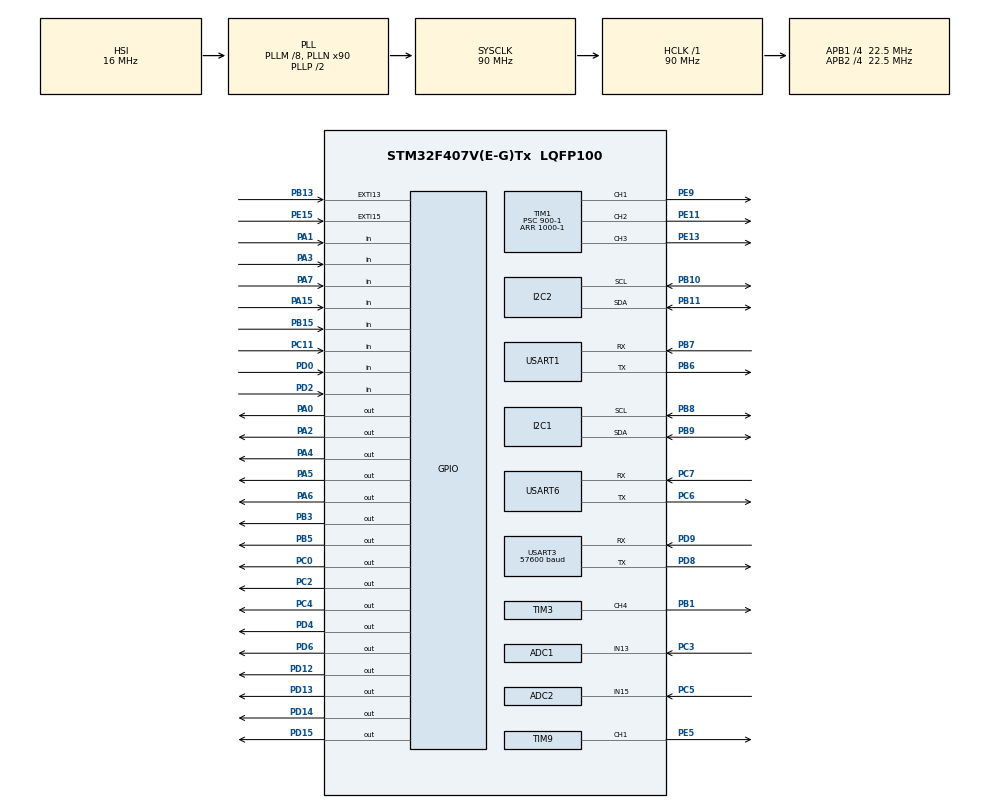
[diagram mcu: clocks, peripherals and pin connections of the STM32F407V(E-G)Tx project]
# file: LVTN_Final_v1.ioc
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ADC1.Channel-0\#ChannelRegularConversion=ADC_CHANNEL_13
ADC1.NbrOfConversionFlag=1
ADC1.Rank-0\#ChannelRegularConversion=1
ADC1.SamplingTime-0\#ChannelRegularConversion=ADC_SAMPLETIME_3CYCLES
ADC1.master=1
ADC2.Channel-0\#ChannelRegularConversion=ADC_CHANNEL_15
ADC2.NbrOfConversionFlag=1
ADC2.Rank-0\#ChannelRegularConversion=1
ADC2.SamplingTime-0\#ChannelRegularConversion=ADC_SAMPLETIME_3CYCLES
FREERTOS.BinarySemaphores01=BinSem,Dynamic,NULL
FREERTOS.Tasks01=Task01,2,128,Start_Task01,Default,NULL,Dynamic,NULL,NULL;Task02,1,128,Start_Task02,Default,NULL,Dynamic,NULL,NULL;Task03,0,128,Start_Task03,Default,NULL,Dynamic,NULL,NULL;Task04,-2,128,Start_Task04,Default,NULL,Dynamic,NULL,NULL
Mcu.Family=STM32F4
Mcu.Name=STM32F407V(E-G)Tx
Mcu.Package=LQFP100
NVIC.EXTI15_10_IRQn=true\:5\:0\:false\:false\:true\:true\:true\:true
NVIC.PriorityGroup=NVIC_PRIORITYGROUP_4
NVIC.TIM1_UP_TIM10_IRQn=true\:5\:0\:false\:false\:true\:false\:false\:true
NVIC.TIM8_TRG_COM_TIM14_IRQn=true\:0\:0\:false\:false\:true\:false\:false\:true
NVIC.TimeBase=TIM8_TRG_COM_TIM14_IRQn
NVIC.TimeBaseIP=TIM14
NVIC.USART1_IRQn=true\:5\:0\:false\:false\:true\:true\:true\:true
NVIC.USART3_IRQn=true\:5\:0\:false\:false\:true\:true\:true\:true
NVIC.USART6_IRQn=true\:5\:0\:false\:false\:true\:true\:true\:true
PA0-WKUP.Signal=GPIO_Output
PA1.Signal=GPIO_Input
PA15.GPIO_PuPd=GPIO_PULLUP
PA15.Signal=GPIO_Input
PA2.Signal=GPIO_Output
PA3.Signal=GPIO_Input
PA4.Signal=GPIO_Output
PA5.Signal=GPIO_Output
PA6.Signal=GPIO_Output
PA7.Signal=GPIO_Input
PB1.Signal=S_TIM3_CH4
PB10.Mode=I2C
PB10.Signal=I2C2_SCL
PB11.Mode=I2C
PB11.Signal=I2C2_SDA
PB13.GPIO_ModeDefaultEXTI=GPIO_MODE_IT_FALLING
PB13.GPIO_PuPd=GPIO_NOPULL
PB13.Signal=GPXTI13
PB15.Signal=GPIO_Input
PB3.Signal=GPIO_Output
PB5.Signal=GPIO_Output
PB6.Mode=Asynchronous
PB6.Signal=USART1_TX
PB7.Mode=Asynchronous
PB7.Signal=USART1_RX
PB8.Mode=I2C
PB8.Signal=I2C1_SCL
PB9.Mode=I2C
PB9.Signal=I2C1_SDA
PC0.Signal=GPIO_Output
PC11.GPIO_PuPd=GPIO_PULLUP
PC11.Signal=GPIO_Input
PC2.Signal=GPIO_Output
PC3.Signal=ADCx_IN13
PC4.Signal=GPIO_Output
PC5.Signal=ADCx_IN15
PC6.Mode=Asynchronous
PC6.Signal=USART6_TX
PC7.Mode=Asynchronous
PC7.Signal=USART6_RX
PD0.GPIO_PuPd=GPIO_PULLUP
PD0.Signal=GPIO_Input
PD12.Signal=GPIO_Output
PD13.Signal=GPIO_Output
PD14.Signal=GPIO_Output
PD15.Signal=GPIO_Output
PD2.GPIO_PuPd=GPIO_PULLUP
PD2.Signal=GPIO_Input
PD4.Signal=GPIO_Output
PD6.Signal=GPIO_Output
PD8.Mode=Asynchronous
PD8.Signal=USART3_TX
PD9.Mode=Asynchronous
PD9.Signal=USART3_RX
PE11.Signal=S_TIM1_CH2
PE13.Signal=S_TIM1_CH3
PE15.GPIO_ModeDefaultEXTI=GPIO_MODE_IT_FALLING
PE15.GPIO_PuPd=GPIO_NOPULL
PE15.Signal=GPXTI15
PE5.Signal=S_TIM9_CH1
PE9.Signal=S_TIM1_CH1
PH0-OSC_IN.Mode=HSE-External-Oscillator
PH0-OSC_IN.Signal=RCC_OSC_IN
PH1-OSC_OUT.Mode=HSE-External-Oscillator
PH1-OSC_OUT.Signal=RCC_OSC_OUT
ProjectManager.HeapSize=0x200
ProjectManager.StackSize=0x400
ProjectManager.TargetToolchain=MDK-ARM V5
RCC.48MHZClocksFreq_Value=45000000
RCC.AHBFreq_Value=90000000
RCC.APB1CLKDivider=RCC_HCLK_DIV4
RCC.APB1Freq_Value=22500000
RCC.APB1TimFreq_Value=45000000
RCC.APB2CLKDivider=RCC_HCLK_DIV4
RCC.APB2Freq_Value=22500000
RCC.APB2TimFreq_Value=45000000
RCC.CortexFreq_Value=90000000
RCC.HCLKFreq_Value=90000000
RCC.HSE_VALUE=8000000
RCC.HSI_VALUE=16000000
RCC.LSE_VALUE=32768
RCC.PLLM=8
RCC.PLLN=90
RCC.SYSCLKFreq_VALUE=90000000
RCC.SYSCLKSource=RCC_SYSCLKSOURCE_PLLCLK
RCC.VCOOutputFreq_Value=180000000
SH.ADCx_IN13.0=ADC1_IN13,IN13
SH.ADCx_IN15.0=ADC2_IN15,IN15
SH.S_TIM1_CH1.0=TIM1_CH1,PWM Generation1 CH1
SH.S_TIM1_CH2.0=TIM1_CH2,PWM Generation2 CH2
SH.S_TIM1_CH3.0=TIM1_CH3,PWM Generation3 CH3
SH.S_TIM3_CH4.0=TIM3_CH4,PWM Generation4 CH4
SH.S_TIM9_CH1.0=TIM9_CH1,PWM Generation1 CH1
TIM1.Channel-PWM\ Generation1\ CH1=TIM_CHANNEL_1
TIM1.Channel-PWM\ Generation2\ CH2=TIM_CHANNEL_2
TIM1.Channel-PWM\ Generation3\ CH3=TIM_CHANNEL_3
TIM1.Period=1000-1
TIM1.Prescaler=900-1
TIM3.Channel-PWM\ Generation4\ CH4=TIM_CHANNEL_4
TIM3.Period=1000-1
TIM3.Prescaler=900-1
TIM9.Channel-PWM\ Generation1\ CH1=TIM_CHANNEL_1
TIM9.Period=100-1
TIM9.Prescaler=900-1
USART1.VirtualMode=VM_ASYNC
USART3.BaudRate=57600
USART3.VirtualMode=VM_ASYNC
USART6.VirtualMode=VM_ASYNC
VP_FREERTOS_VS_CMSIS_V1.Mode=CMSIS_V1
VP_SYS_VS_tim14.Mode=TIM14
board=custom

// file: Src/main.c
/* USER CODE BEGIN Header */
/**
  ******************************************************************************
  * @file           : main.c
  * @brief          : Main program body
  ******************************************************************************
  * @attention
  *
  * <h2><center>&copy; Copyright (c) 2021 STMicroelectronics.
  * All rights reserved.</center></h2>
  *
  * This software component is licensed by ST under Ultimate Liberty license
  * SLA0044, the "License"; You may not use this file except in compliance with
  * the License. You may obtain a copy of the License at:
  *                             www.st.com/SLA0044
  *
  ******************************************************************************
  */
/* USER CODE END Header */

#include "main.h"
#include "cmsis_os.h"

/* USER CODE BEGIN Includes */
#include "stdio.h"
#include "stdlib.h"
#include "string.h"
#include "dht11.h"
#include "GAS.h"
#include "lcd_16x2.h"
#include "lcd_20x4.h"
#include "Light_sensor.h"
#include "music.h"
#include "PIR.h"
#include "Rain.h"
#include "Servo.h"
#include "lib_TA12.h"
#include "Control_device.h"
#include "password.h"
/* USER CODE END Includes */

ADC_HandleTypeDef hadc1;
ADC_HandleTypeDef hadc2;

I2C_HandleTypeDef hi2c1;
I2C_HandleTypeDef hi2c2;

TIM_HandleTypeDef htim1;
TIM_HandleTypeDef htim3;
TIM_HandleTypeDef htim9;

UART_HandleTypeDef huart1;
UART_HandleTypeDef huart3;
UART_HandleTypeDef huart6;

osThreadId Task01Handle;
osThreadId Task02Handle;
osThreadId Task03Handle;
osThreadId Task04Handle;
osSemaphoreId BinSemHandle;

void SystemClock_Config(void);
static void MX_GPIO_Init(void);
static void MX_ADC1_Init(void);
static void MX_ADC2_Init(void);
static void MX_I2C1_Init(void);
static void MX_I2C2_Init(void);
static void MX_TIM1_Init(void);
static void MX_TIM3_Init(void);
static void MX_TIM9_Init(void);
static void MX_USART1_UART_Init(void);
static void MX_USART3_UART_Init(void);
static void MX_USART6_UART_Init(void);
void Start_Task01(void const * argument);
void Start_Task02(void const * argument);
void Start_Task03(void const * argument);
void Start_Task04(void const * argument);

/* USER CODE BEGIN PFP */
volatile int flash_wifi = 0;
volatile int automation_flash = 0; //auto off

long timeout_to_run_task1 = 0;
long timeout_to_run_task2 = 0;
long timeout_to_run_task3 = 0;
long timeout_to_run_task4 = 0;

char _limit_temp[2] = "30";
int limit_temp = 30;

struct Data_read{
		unsigned char dht11[4];
		unsigned char dht11_old[4];
		float gas;
		float gas_old;
		uint8_t pir;
		uint8_t pir_old;
		uint8_t rain;
		uint8_t rain_old;
		uint8_t light_sensor;
		uint8_t light_sensor_old;
		uint8_t current;
		uint8_t current_old;
		int temperature;
}data_read;

struct Data_send{
		char DHT11[18];
		char GAS[12];

		char LED1[6];
		char LED2[6];
		char LED3[6];
		char LED4[6];

		char RELAY[7];
		char FAN1[6];
		char FAN2[6];

		char ERASE[7]; //to erase flash EEPROM
		char CURRENT[9]; //current sensor

		char GATE[6]; //servo cua chinh
		char POLE[6]; //servo xao phoi do
		char WINDOW[8]; //servo cua so
}data_send;

struct Firebase{
		int FAN1_state;
		int FAN2_state;
		int RELAY_state;
		int LED1_state;
		int LED2_state;
		int LED3_state;
		int LED4_state;
		int GATE_state;
		int POLE_state;
		int WINDOW_state;
}FB;

struct Device{
		int FAN1_state;
		int FAN2_state;
		int RELAY_state;
		int LED1_state;
		int LED2_state;
		int LED3_state;
		int LED4_state;
		int GATE_state;
		int	POLE_state;
		int WINDOW_state;

		int FAN1_old_state;
		int FAN2_old_state;
		int RELAY_old_state;
		int LED1_old_state;
		int LED2_old_state;
		int LED3_old_state;
		int LED4_old_state;
		int GATE_old_state;
		int POLE_old_state;
		int WINDOW_old_state;
}DV;

struct Touch{
		int state1;
		int state2;
		int state3;
		int counter_1;
		int counter_2;
}touch;

struct Display{
		char DHT[16];
		char GAS[16];
}display;

/* USER CODE END PFP */

/* USER CODE BEGIN 0 */

/* Code for comunication with esp8266 using UART 1 and UART 6 */
/*	define */
#define txBuf_size 30
#define rxBuf_size 50

char tx_Buf[txBuf_size];
char rx_Buf[rxBuf_size];

char rxBuf_receive[2];
uint16_t rx_Index = 0;
char temp_receive[rxBuf_size]; //data temp read from esp

/* Function to comunication */
void serial_send_cmd(char data[]){
		if (flash_wifi == 1){
			HAL_GPIO_TogglePin(GPIOD,GPIO_PIN_14);
			char line[txBuf_size];
			snprintf(line, sizeof(line), "%s\r\n", data);
			HAL_UART_Transmit(&huart1, (uint8_t*)line, strlen(line), 100);
		}
}

char* serial_read(){
		strcpy(temp_receive, rx_Buf);
		return temp_receive;
}

/* Function to read sensor */
void readSensor(){
		read_DHT11(data_read.dht11);
		data_read.gas = read_gas_ppm();
		data_read.current = read_Current(70);
		if ((data_read.dht11_old[0] != data_read.dht11[0])||(data_read.dht11_old[2] != data_read.dht11[2])||(data_read.dht11_old[1] != data_read.dht11[1])||(data_read.dht11_old[3] != data_read.dht11[3])){
			memcpy(data_read.dht11_old, data_read.dht11, 4);
			//meaning data change
			data_read.temperature = data_read.dht11_old[2];
			sprintf(data_send.DHT11, "DHT11 %d.%d %d.%d" ,data_read.dht11_old[2],data_read.dht11_old[3],data_read.dht11_old[0],data_read.dht11_old[1]);
			sprintf(display.DHT, "%d.%d\xDF\x43  %d.%d\x37",data_read.dht11_old[2],data_read.dht11_old[3],data_read.dht11_old[0],data_read.dht11_old[1]);
			serial_send_cmd(data_send.DHT11);
			HAL_Delay(30);
		}

		if (data_read.gas_old != data_read.gas){
			data_read.gas_old = data_read.gas;
			sprintf(data_send.GAS, "GAS %4.2f" ,data_read.gas_old);
			sprintf(display.GAS, "GAS %4.2f ppm", data_read.gas_old);
			serial_send_cmd(data_send.GAS);
			HAL_Delay(30);
			if (data_read.gas_old >= GAS_thresh){
				control_Fan(2, 1);
				music_play(500);
				HAL_Delay(200);
				music_play(700);
				HAL_Delay(200);
			}
			else{
				control_Fan(2, 0);
				music_stop();
			}
		}

		if (data_read.current_old != data_read.current){
			data_read.current_old = data_read.current;
			sprintf(data_send.CURRENT, "CURRENT %d", data_read.current_old);
			serial_send_cmd(data_send.CURRENT);
			HAL_Delay(30);
		}

//		uint16_t c = 0; //do thay doi cua cam bien gas
//		c = (data_read.gas_old > read_GAS()) ? data_read.gas_old - read_GAS(): read_GAS() - data_read.gas_old;
//		if (c > 0){
//			data_read.gas_old = read_GAS();
//			sprintf(data_send.GAS, "GAS %d\r\n" ,data_read.gas_old);
//			sprintf(display.GAS, "GAS %d ppm", data_read.gas_old);
//			serial_send_cmd(data_send.GAS);
//			HAL_Delay(500);
//		}
}

/* stream Firebase */
void stream(){
	char temp[2];
	//serial_read();
	//check wifi
	flash_wifi = 1;//connected
	if (strncmp(temp_receive,"WIFI",4)==0){
		temp[0] = temp_receive[4];
		if (temp[0] == '2'){
			flash_wifi = 0; //smartconfig
		}
	}

	if (strncmp(temp_receive,"LTMP",4)==0){
		_limit_temp[0] = temp_receive[4];
		_limit_temp[1] = temp_receive[5];
		limit_temp = atoi(_limit_temp);
	}

	//stream FAN state
	if (strncmp(temp_receive,"FAN1",4)==0){
		temp[0] = temp_receive[4];
		if (temp[0] == '0'){
			FB.FAN1_state = 0;
		}
		if (temp[0] == '1'){
			FB.FAN1_state = 1;
		}
	}
	if (strncmp(temp_receive,"FAN2",4)==0){
		temp[0] = temp_receive[4];
		if (temp[0] == '0'){
			FB.FAN2_state = 0;
		}
		if (temp[0] == '1'){
			FB.FAN2_state = 1;
		}
	}
	//stream RELAY state
	if (strncmp(temp_receive,"RELAY",5)==0){
		temp[0] = temp_receive[5];
		if (temp[0] == '0'){
			FB.RELAY_state = 0;
		}
		if (temp[0] == '1'){
			FB.RELAY_state = 1;
		}
	}
	//stream LED1 state
	if (strncmp(temp_receive,"LED1",4)==0){
		temp[0] = temp_receive[4];
		if (temp[0] == '0'){
			FB.LED1_state = 0;
		}
		if (temp[0] == '1'){
			FB.LED1_state = 1;
		}
	}
	//stream LED2 state
	if (strncmp(temp_receive,"LED2",4)==0){
		temp[0] = temp_receive[4];
		if (temp[0] == '0'){
			FB.LED2_state = 0;
		}
		if (temp[0] == '1'){
			FB.LED2_state = 1;
		}
	}
	//stream lED3 state
	if (strncmp(temp_receive,"LED3",4)==0){
		temp[0] = temp_receive[4];
		if (temp[0] == '0'){
			FB.LED3_state = 0;
		}
		if (temp[0] == '1'){
			FB.LED3_state = 1;
		}
	}
	//stream LED4 state
	if (strncmp(temp_receive,"LED4",4)==0){
		temp[0] = temp_receive[4];
		if (temp[0] == '0'){
			FB.LED4_state = 0;
		}
		if (temp[0] == '1'){
			FB.LED4_state = 1;
		}
	}
	//stream GATE state
	if (strncmp(temp_receive,"GATE",4)==0){
		temp[0] = temp_receive[4];
		if (temp[0] == '0'){
			FB.GATE_state = 0;
		}
		if (temp[0] == '1'){
			FB.GATE_state = 1;
		}
	}

	//stream POLE state
	if (strncmp(temp_receive,"POLE",4)==0){
		temp[0] = temp_receive[4];
		if (temp[0] == '0'){
			FB.POLE_state = 0;
		}
		if (temp[0] == '1'){
			FB.POLE_state = 1;
		}
	}

	//stream Window state
	if (strncmp(temp_receive,"WINDOW",6)==0){
		temp[0] = temp_receive[6];
		if (temp[0] == '0'){
			FB.WINDOW_state = 0;
		}
		if (temp[0] == '1'){
			FB.WINDOW_state = 1;
		}
	}
}

void save_stream(){
		if (DV.FAN1_state != FB.FAN1_state){
			DV.FAN1_state = FB.FAN1_state;
		}
		if (DV.FAN2_state != FB.FAN2_state){
			DV.FAN2_state = FB.FAN2_state;
		}
		if (DV.RELAY_state != FB.RELAY_state){
			DV.RELAY_state = FB.RELAY_state;
		}
		if (DV.LED1_state != FB.LED1_state){
			DV.LED1_state = FB.LED1_state;
		}
		if (DV.LED2_state != FB.LED2_state){
			DV.LED2_state = FB.LED2_state;
		}
		if (DV.LED3_state != FB.LED3_state){
			DV.LED3_state = FB.LED3_state;
		}
		if (DV.LED4_state != FB.LED4_state){
			DV.LED4_state = FB.LED4_state;
		}
		if (DV.GATE_state != FB.GATE_state){
			DV.GATE_state = FB.GATE_state;
		}
		if (DV.POLE_state != FB.POLE_state){
			DV.POLE_state = FB.POLE_state;
		}
		if (DV.WINDOW_state != FB.WINDOW_state){
			DV.WINDOW_state = FB.WINDOW_state;
		}
}

void stream_handle(){
	if (flash_wifi == 1){
		HAL_GPIO_WritePin(GPIOD, GPIO_PIN_13, 1);
		HAL_GPIO_WritePin(GPIOD, GPIO_PIN_15, 0);
	}
	if (flash_wifi == 0){
		HAL_GPIO_WritePin(GPIOD, GPIO_PIN_13, 0);
		HAL_GPIO_TogglePin(GPIOD, GPIO_PIN_15);
		osDelay(100);
	}
	if (DV.LED1_state != DV.LED1_old_state){
		DV.LED1_old_state = DV.LED1_state;
		control_Led(1, DV.LED1_old_state);
		sprintf(data_send.LED1, "LED1 %d" ,DV.LED1_old_state);
		serial_send_cmd(data_send.LED1);
		HAL_Delay(30);
	}
	if (DV.LED2_state != DV.LED2_old_state){
		DV.LED2_old_state = DV.LED2_state;
		control_Led(2, DV.LED2_old_state);
		sprintf(data_send.LED2, "LED2 %d" ,DV.LED2_old_state);
		serial_send_cmd(data_send.LED2);
		HAL_Delay(30);
	}

	if (DV.LED3_state != DV.LED3_old_state){
		DV.LED3_old_state = DV.LED3_state;
		control_Led(3, DV.LED3_old_state);
		sprintf(data_send.LED3, "LED3 %d" ,DV.LED3_old_state);
		serial_send_cmd(data_send.LED3);
		HAL_Delay(30);
	}
	if (DV.LED4_state != DV.LED4_old_state){
		DV.LED4_old_state = DV.LED4_state;
		control_Led(4, DV.LED4_old_state);
		sprintf(data_send.LED4, "LED4 %d" ,DV.LED4_old_state);
		serial_send_cmd(data_send.LED4);
		HAL_Delay(30);
	}
	if (DV.RELAY_state != DV.RELAY_old_state){
		DV.RELAY_old_state = DV.RELAY_state;
		control_Relay(DV.RELAY_old_state);
		sprintf(data_send.RELAY, "RELAY %d" ,DV.RELAY_old_state);
		serial_send_cmd(data_send.RELAY);
		HAL_Delay(30);
	}
	if (DV.FAN1_state != DV.FAN1_old_state){
		DV.FAN1_old_state = DV.FAN1_state;
		control_Fan(1, DV.FAN1_old_state);
		sprintf(data_send.FAN1, "FAN1 %d" ,DV.FAN1_old_state);
		serial_send_cmd(data_send.FAN1);
		HAL_Delay(30);
	}
	if (DV.FAN2_state != DV.FAN2_old_state){
		DV.FAN2_old_state = DV.FAN2_state;
		control_Fan(2, DV.FAN2_old_state);
		sprintf(data_send.FAN2, "FAN2 %d" ,DV.FAN2_old_state);
		serial_send_cmd(data_send.FAN2);
		HAL_Delay(30);
	}
	if (DV.GATE_state != DV.GATE_old_state){
		DV.GATE_old_state = DV.GATE_state;
		control_Gate(DV.GATE_old_state);
		sprintf(data_send.GATE, "GATE %d" ,DV.GATE_old_state);
		serial_send_cmd(data_send.GATE);
		HAL_Delay(30);
	}
	if (DV.POLE_state != DV.POLE_old_state){
		DV.POLE_old_state = DV.POLE_state;
		control_Pole(DV.POLE_old_state);
		sprintf(data_send.POLE, "POLE %d" ,DV.POLE_old_state);
		serial_send_cmd(data_send.POLE);
		HAL_Delay(30);
	}
	if (DV.WINDOW_state != DV.WINDOW_old_state){
		DV.WINDOW_old_state = DV.WINDOW_state;
		control_Window(DV.WINDOW_old_state);
		sprintf(data_send.WINDOW, "WINDOW %d" ,DV.WINDOW_old_state);
		serial_send_cmd(data_send.WINDOW);
		HAL_Delay(30);
	}
}

/* end of stream */

void lcd_display(){
		LCD_16x2_Clear();
		LCD_16x2_SetCursor(1,1);
		LCD_16x2_Send_String(display.DHT, STR_NOSLIDE);
		LCD_16x2_SetCursor(2,1);
		LCD_16x2_Send_String(display.GAS, STR_NOSLIDE);
}

void smart_control(){
	/* Cau hinh 1 nut bat tat che do tu dong */
	if (automation_flash == 1){
		data_read.pir = read_PIR();
		data_read.light_sensor = read_Light_sensor();
		data_read.rain = read_Rain();

		/* Doc cam bien PIR dieu khien den led phong khach tu dong */
		control_Led(1, !data_read.pir);
		FB.LED1_state = !data_read.pir; //auto update state of led1 to firebase

		/* Doc cam bien anh sang dieu khien led san vuon tu dong */
		control_Led(4, !data_read.light_sensor);
		FB.LED4_state = !data_read.light_sensor;

		/* Thu sao phoi do tu dong */
		if (data_read.rain == 1){
				servo_position(2, 70);
				HAL_Delay(100);
		}
		else{
				servo_position(2, 0);
				HAL_Delay(100);
		}

		/* Nhiet do cao tu dong bat quat phong khach */
		if (data_read.temperature > limit_temp){
				control_Fan(1, 1);
				FB.FAN1_state = 1;
		}
		else{
				control_Fan(1, 0);
				FB.FAN1_state = 0;
		}

	/* Nhiet do cao tu bat quat phong khach */
//	if (data_read.temperature > limit_temp){
//			DV.FAN1_state = 1;
//	}
//	else{
//			DV.FAN1_state = 0;
//	}

	/* Phat hien khi gas bat quat nha bep */
	}
}

/* Code for comunication with R305 using UART 3*/
uint8_t txBuf[32];
uint8_t rxBuf[32];
uint8_t rxData;
uint8_t rxIndex = 0;

/* Receive using ISR */
void HAL_UART_RxCpltCallback(UART_HandleTypeDef *UartHandle)
{
  /* Prevent unused argument(s) compilation warning */
	if(UartHandle->Instance==USART6){
		if (rx_Index == 0){
			for(int i = 0; i < rxBuf_size; i++){
				rx_Buf[i] = 0;
			}
		}
		if (rxBuf_receive[0] != 10){
			rx_Buf[rx_Index]=rxBuf_receive[0];
			rx_Index++;
		}
		else{
			strcpy(temp_receive, rx_Buf);
			HAL_GPIO_TogglePin(GPIOD,GPIO_PIN_12); //bao hieu co data gui tu esp toi stm32
			rx_Index = 0;
		}
		HAL_UART_Receive_IT(&huart6 , (uint8_t*)rxBuf_receive, 1);
	}

	if(UartHandle->Instance==USART3){
		rxBuf[rxIndex] = rxData;
		if (rxIndex < (sizeof(rxBuf)-2))
			rxIndex++;
		HAL_UART_Receive_IT(&huart3, &rxData, 1);
	}
}

/* USER CODE END 0 */

int main(void)
{

  /* MCU Configuration--------------------------------------------------------*/

  /* Reset of all peripherals, Initializes the Flash interface and the Systick. */
  HAL_Init();

  /* Configure the system clock */
  SystemClock_Config();

  /* Initialize all configured peripherals */
  MX_GPIO_Init();
  MX_ADC1_Init();
  MX_ADC2_Init();
  MX_I2C1_Init();
  MX_I2C2_Init();
  MX_TIM1_Init();
  MX_TIM3_Init();
  MX_TIM9_Init();
  MX_USART1_UART_Init();
  MX_USART3_UART_Init();
  MX_USART6_UART_Init();
  /* USER CODE BEGIN 2 */
	music_Init();
	servo_Init();
	DHT11_Init();

	touch.state1 = 0;
	touch.counter_1 = 0;
	touch.counter_2 = 0;

	LCD_16x2_i2cDeviceCheck();
	LCD_16x2_Init();
	LCD_16x2_BackLight(LCD_BL_ON);
	LCD_16x2_SetCursor(1,1);
	LCD_16x2_Send_String("GOOD DAY MASTER",STR_NOSLIDE);

	LCD_20x4_i2cDeviceCheck();
	LCD_20x4_Init();
	LCD_20x4_BackLight(LCD_BL_ON);
	LCD_20x4_SetCursor(1,1);
	LCD_20x4_Send_String("A: Quet van tay",STR_NOSLIDE);
	LCD_20x4_SetCursor(2,1);
	LCD_20x4_Send_String("B: Nhap mat khau",STR_NOSLIDE);
	LCD_20x4_SetCursor(3,1);
	LCD_20x4_Send_String("C: Setting",STR_NOSLIDE);

	/* Begin receive data from uart 3 and uart 6*/
	HAL_UART_Receive_IT(&huart6 , (uint8_t*)rxBuf_receive, 1);
	//HAL_UART_Receive_IT(&huart3, &rxData, 1);
	HAL_UART_Receive_IT(&huart3, &rxData, 1);

  /* USER CODE END 2 */

  /* Create the semaphores(s) */
  /* definition and creation of BinSem */
  osSemaphoreDef(BinSem);
  BinSemHandle = osSemaphoreCreate(osSemaphore(BinSem), 1);

  /* Create the thread(s) */
  /* definition and creation of Task01 */
  osThreadDef(Task01, Start_Task01, osPriorityHigh, 0, 128);
  Task01Handle = osThreadCreate(osThread(Task01), NULL);

  /* definition and creation of Task02 */
  osThreadDef(Task02, Start_Task02, osPriorityAboveNormal, 0, 128);
  Task02Handle = osThreadCreate(osThread(Task02), NULL);

  /* definition and creation of Task03 */
  osThreadDef(Task03, Start_Task03, osPriorityNormal, 0, 128);
  Task03Handle = osThreadCreate(osThread(Task03), NULL);

  /* definition and creation of Task04 */
  osThreadDef(Task04, Start_Task04, osPriorityLow, 0, 128);
  Task04Handle = osThreadCreate(osThread(Task04), NULL);

  /* Start scheduler */
  osKernelStart();

  /* We should never get here as control is now taken by the scheduler */

  /* Infinite loop */
  while (1)
  {

  }
}

void SystemClock_Config(void)
{
  RCC_OscInitTypeDef RCC_OscInitStruct = {0};
  RCC_ClkInitTypeDef RCC_ClkInitStruct = {0};

  /** Configure the main internal regulator output voltage
  */
  __HAL_RCC_PWR_CLK_ENABLE();
  __HAL_PWR_VOLTAGESCALING_CONFIG(PWR_REGULATOR_VOLTAGE_SCALE1);
  /** Initializes the CPU, AHB and APB busses clocks
  */
  RCC_OscInitStruct.OscillatorType = RCC_OSCILLATORTYPE_HSI;
  RCC_OscInitStruct.HSIState = RCC_HSI_ON;
  RCC_OscInitStruct.HSICalibrationValue = RCC_HSICALIBRATION_DEFAULT;
  RCC_OscInitStruct.PLL.PLLState = RCC_PLL_ON;
  RCC_OscInitStruct.PLL.PLLSource = RCC_PLLSOURCE_HSI;
  RCC_OscInitStruct.PLL.PLLM = 8;
  RCC_OscInitStruct.PLL.PLLN = 90;
  RCC_OscInitStruct.PLL.PLLP = RCC_PLLP_DIV2;
  RCC_OscInitStruct.PLL.PLLQ = 4;
  if (HAL_RCC_OscConfig(&RCC_OscInitStruct) != HAL_OK)
  {
    Error_Handler();
  }
  /** Initializes the CPU, AHB and APB busses clocks
  */
  RCC_ClkInitStruct.ClockType = RCC_CLOCKTYPE_HCLK|RCC_CLOCKTYPE_SYSCLK
                              |RCC_CLOCKTYPE_PCLK1|RCC_CLOCKTYPE_PCLK2;
  RCC_ClkInitStruct.SYSCLKSource = RCC_SYSCLKSOURCE_PLLCLK;
  RCC_ClkInitStruct.AHBCLKDivider = RCC_SYSCLK_DIV1;
  RCC_ClkInitStruct.APB1CLKDivider = RCC_HCLK_DIV4;
  RCC_ClkInitStruct.APB2CLKDivider = RCC_HCLK_DIV4;

  if (HAL_RCC_ClockConfig(&RCC_ClkInitStruct, FLASH_LATENCY_2) != HAL_OK)
  {
    Error_Handler();
  }
}

static void MX_ADC1_Init(void)
{

  ADC_ChannelConfTypeDef sConfig = {0};

  /** Configure the global features of the ADC (Clock, Resolution, Data Alignment and number of conversion)
  */
  hadc1.Instance = ADC1;
  hadc1.Init.ClockPrescaler = ADC_CLOCK_SYNC_PCLK_DIV2;
  hadc1.Init.Resolution = ADC_RESOLUTION_12B;
  hadc1.Init.ScanConvMode = DISABLE;
  hadc1.Init.ContinuousConvMode = DISABLE;
  hadc1.Init.DiscontinuousConvMode = DISABLE;
  hadc1.Init.ExternalTrigConvEdge = ADC_EXTERNALTRIGCONVEDGE_NONE;
  hadc1.Init.ExternalTrigConv = ADC_SOFTWARE_START;
  hadc1.Init.DataAlign = ADC_DATAALIGN_RIGHT;
  hadc1.Init.NbrOfConversion = 1;
  hadc1.Init.DMAContinuousRequests = DISABLE;
  hadc1.Init.EOCSelection = ADC_EOC_SINGLE_CONV;
  if (HAL_ADC_Init(&hadc1) != HAL_OK)
  {
    Error_Handler();
  }
  /** Configure for the selected ADC regular channel its corresponding rank in the sequencer and its sample time.
  */
  sConfig.Channel = ADC_CHANNEL_13;
  sConfig.Rank = 1;
  sConfig.SamplingTime = ADC_SAMPLETIME_3CYCLES;
  if (HAL_ADC_ConfigChannel(&hadc1, &sConfig) != HAL_OK)
  {
    Error_Handler();
  }

}

static void MX_ADC2_Init(void)
{

  ADC_ChannelConfTypeDef sConfig = {0};

  /** Configure the global features of the ADC (Clock, Resolution, Data Alignment and number of conversion)
  */
  hadc2.Instance = ADC2;
  hadc2.Init.ClockPrescaler = ADC_CLOCK_SYNC_PCLK_DIV2;
  hadc2.Init.Resolution = ADC_RESOLUTION_12B;
  hadc2.Init.ScanConvMode = DISABLE;
  hadc2.Init.ContinuousConvMode = DISABLE;
  hadc2.Init.DiscontinuousConvMode = DISABLE;
  hadc2.Init.ExternalTrigConvEdge = ADC_EXTERNALTRIGCONVEDGE_NONE;
  hadc2.Init.ExternalTrigConv = ADC_SOFTWARE_START;
  hadc2.Init.DataAlign = ADC_DATAALIGN_RIGHT;
  hadc2.Init.NbrOfConversion = 1;
  hadc2.Init.DMAContinuousRequests = DISABLE;
  hadc2.Init.EOCSelection = ADC_EOC_SINGLE_CONV;
  if (HAL_ADC_Init(&hadc2) != HAL_OK)
  {
    Error_Handler();
  }
  /** Configure for the selected ADC regular channel its corresponding rank in the sequencer and its sample time.
  */
  sConfig.Channel = ADC_CHANNEL_15;
  sConfig.Rank = 1;
  sConfig.SamplingTime = ADC_SAMPLETIME_3CYCLES;
  if (HAL_ADC_ConfigChannel(&hadc2, &sConfig) != HAL_OK)
  {
    Error_Handler();
  }

}

static void MX_I2C1_Init(void)
{

  hi2c1.Instance = I2C1;
  hi2c1.Init.ClockSpeed = 100000;
  hi2c1.Init.DutyCycle = I2C_DUTYCYCLE_2;
  hi2c1.Init.OwnAddress1 = 0;
  hi2c1.Init.AddressingMode = I2C_ADDRESSINGMODE_7BIT;
  hi2c1.Init.DualAddressMode = I2C_DUALADDRESS_DISABLE;
  hi2c1.Init.OwnAddress2 = 0;
  hi2c1.Init.GeneralCallMode = I2C_GENERALCALL_DISABLE;
  hi2c1.Init.NoStretchMode = I2C_NOSTRETCH_DISABLE;
  if (HAL_I2C_Init(&hi2c1) != HAL_OK)
  {
    Error_Handler();
  }

}

static void MX_I2C2_Init(void)
{

  hi2c2.Instance = I2C2;
  hi2c2.Init.ClockSpeed = 100000;
  hi2c2.Init.DutyCycle = I2C_DUTYCYCLE_2;
  hi2c2.Init.OwnAddress1 = 0;
  hi2c2.Init.AddressingMode = I2C_ADDRESSINGMODE_7BIT;
  hi2c2.Init.DualAddressMode = I2C_DUALADDRESS_DISABLE;
  hi2c2.Init.OwnAddress2 = 0;
  hi2c2.Init.GeneralCallMode = I2C_GENERALCALL_DISABLE;
  hi2c2.Init.NoStretchMode = I2C_NOSTRETCH_DISABLE;
  if (HAL_I2C_Init(&hi2c2) != HAL_OK)
  {
    Error_Handler();
  }

}

static void MX_TIM1_Init(void)
{

  TIM_MasterConfigTypeDef sMasterConfig = {0};
  TIM_OC_InitTypeDef sConfigOC = {0};
  TIM_BreakDeadTimeConfigTypeDef sBreakDeadTimeConfig = {0};

  htim1.Instance = TIM1;
  htim1.Init.Prescaler = 900-1;
  htim1.Init.CounterMode = TIM_COUNTERMODE_UP;
  htim1.Init.Period = 1000-1;
  htim1.Init.ClockDivision = TIM_CLOCKDIVISION_DIV1;
  htim1.Init.RepetitionCounter = 0;
  htim1.Init.AutoReloadPreload = TIM_AUTORELOAD_PRELOAD_DISABLE;
  if (HAL_TIM_PWM_Init(&htim1) != HAL_OK)
  {
    Error_Handler();
  }
  sMasterConfig.MasterOutputTrigger = TIM_TRGO_RESET;
  sMasterConfig.MasterSlaveMode = TIM_MASTERSLAVEMODE_DISABLE;
  if (HAL_TIMEx_MasterConfigSynchronization(&htim1, &sMasterConfig) != HAL_OK)
  {
    Error_Handler();
  }
  sConfigOC.OCMode = TIM_OCMODE_PWM1;
  sConfigOC.Pulse = 0;
  sConfigOC.OCPolarity = TIM_OCPOLARITY_HIGH;
  sConfigOC.OCNPolarity = TIM_OCNPOLARITY_HIGH;
  sConfigOC.OCFastMode = TIM_OCFAST_DISABLE;
  sConfigOC.OCIdleState = TIM_OCIDLESTATE_RESET;
  sConfigOC.OCNIdleState = TIM_OCNIDLESTATE_RESET;
  if (HAL_TIM_PWM_ConfigChannel(&htim1, &sConfigOC, TIM_CHANNEL_1) != HAL_OK)
  {
    Error_Handler();
  }
  if (HAL_TIM_PWM_ConfigChannel(&htim1, &sConfigOC, TIM_CHANNEL_2) != HAL_OK)
  {
    Error_Handler();
  }
  if (HAL_TIM_PWM_ConfigChannel(&htim1, &sConfigOC, TIM_CHANNEL_3) != HAL_OK)
  {
    Error_Handler();
  }
  sBreakDeadTimeConfig.OffStateRunMode = TIM_OSSR_DISABLE;
  sBreakDeadTimeConfig.OffStateIDLEMode = TIM_OSSI_DISABLE;
  sBreakDeadTimeConfig.LockLevel = TIM_LOCKLEVEL_OFF;
  sBreakDeadTimeConfig.DeadTime = 0;
  sBreakDeadTimeConfig.BreakState = TIM_BREAK_DISABLE;
  sBreakDeadTimeConfig.BreakPolarity = TIM_BREAKPOLARITY_HIGH;
  sBreakDeadTimeConfig.AutomaticOutput = TIM_AUTOMATICOUTPUT_DISABLE;
  if (HAL_TIMEx_ConfigBreakDeadTime(&htim1, &sBreakDeadTimeConfig) != HAL_OK)
  {
    Error_Handler();
  }
  HAL_TIM_MspPostInit(&htim1);

}

static void MX_TIM3_Init(void)
{

  TIM_MasterConfigTypeDef sMasterConfig = {0};
  TIM_OC_InitTypeDef sConfigOC = {0};

  htim3.Instance = TIM3;
  htim3.Init.Prescaler = 900-1;
  htim3.Init.CounterMode = TIM_COUNTERMODE_UP;
  htim3.Init.Period = 1000-1;
  htim3.Init.ClockDivision = TIM_CLOCKDIVISION_DIV1;
  htim3.Init.AutoReloadPreload = TIM_AUTORELOAD_PRELOAD_DISABLE;
  if (HAL_TIM_PWM_Init(&htim3) != HAL_OK)
  {
    Error_Handler();
  }
  sMasterConfig.MasterOutputTrigger = TIM_TRGO_RESET;
  sMasterConfig.MasterSlaveMode = TIM_MASTERSLAVEMODE_DISABLE;
  if (HAL_TIMEx_MasterConfigSynchronization(&htim3, &sMasterConfig) != HAL_OK)
  {
    Error_Handler();
  }
  sConfigOC.OCMode = TIM_OCMODE_PWM1;
  sConfigOC.Pulse = 0;
  sConfigOC.OCPolarity = TIM_OCPOLARITY_HIGH;
  sConfigOC.OCFastMode = TIM_OCFAST_DISABLE;
  if (HAL_TIM_PWM_ConfigChannel(&htim3, &sConfigOC, TIM_CHANNEL_4) != HAL_OK)
  {
    Error_Handler();
  }
  HAL_TIM_MspPostInit(&htim3);

}

static void MX_TIM9_Init(void)
{

  TIM_OC_InitTypeDef sConfigOC = {0};

  htim9.Instance = TIM9;
  htim9.Init.Prescaler = 900-1;
  htim9.Init.CounterMode = TIM_COUNTERMODE_UP;
  htim9.Init.Period = 100-1;
  htim9.Init.ClockDivision = TIM_CLOCKDIVISION_DIV1;
  htim9.Init.AutoReloadPreload = TIM_AUTORELOAD_PRELOAD_DISABLE;
  if (HAL_TIM_PWM_Init(&htim9) != HAL_OK)
  {
    Error_Handler();
  }
  sConfigOC.OCMode = TIM_OCMODE_PWM1;
  sConfigOC.Pulse = 0;
  sConfigOC.OCPolarity = TIM_OCPOLARITY_HIGH;
  sConfigOC.OCFastMode = TIM_OCFAST_DISABLE;
  if (HAL_TIM_PWM_ConfigChannel(&htim9, &sConfigOC, TIM_CHANNEL_1) != HAL_OK)
  {
    Error_Handler();
  }
  HAL_TIM_MspPostInit(&htim9);

}

static void MX_USART1_UART_Init(void)
{

  huart1.Instance = USART1;
  huart1.Init.BaudRate = 115200;
  huart1.Init.WordLength = UART_WORDLENGTH_8B;
  huart1.Init.StopBits = UART_STOPBITS_1;
  huart1.Init.Parity = UART_PARITY_NONE;
  huart1.Init.Mode = UART_MODE_TX_RX;
  huart1.Init.HwFlowCtl = UART_HWCONTROL_NONE;
  huart1.Init.OverSampling = UART_OVERSAMPLING_16;
  if (HAL_UART_Init(&huart1) != HAL_OK)
  {
    Error_Handler();
  }

}

static void MX_USART3_UART_Init(void)
{

  huart3.Instance = USART3;
  huart3.Init.BaudRate = 57600;
  huart3.Init.WordLength = UART_WORDLENGTH_8B;
  huart3.Init.StopBits = UART_STOPBITS_1;
  huart3.Init.Parity = UART_PARITY_NONE;
  huart3.Init.Mode = UART_MODE_TX_RX;
  huart3.Init.HwFlowCtl = UART_HWCONTROL_NONE;
  huart3.Init.OverSampling = UART_OVERSAMPLING_16;
  if (HAL_UART_Init(&huart3) != HAL_OK)
  {
    Error_Handler();
  }

}

static void MX_USART6_UART_Init(void)
{

  huart6.Instance = USART6;
  huart6.Init.BaudRate = 115200;
  huart6.Init.WordLength = UART_WORDLENGTH_8B;
  huart6.Init.StopBits = UART_STOPBITS_1;
  huart6.Init.Parity = UART_PARITY_NONE;
  huart6.Init.Mode = UART_MODE_TX_RX;
  huart6.Init.HwFlowCtl = UART_HWCONTROL_NONE;
  huart6.Init.OverSampling = UART_OVERSAMPLING_16;
  if (HAL_UART_Init(&huart6) != HAL_OK)
  {
    Error_Handler();
  }

}

static void MX_GPIO_Init(void)
{
  GPIO_InitTypeDef GPIO_InitStruct = {0};

  /* GPIO Ports Clock Enable */
  __HAL_RCC_GPIOE_CLK_ENABLE();
  __HAL_RCC_GPIOH_CLK_ENABLE();
  __HAL_RCC_GPIOC_CLK_ENABLE();
  __HAL_RCC_GPIOA_CLK_ENABLE();
  __HAL_RCC_GPIOB_CLK_ENABLE();
  __HAL_RCC_GPIOD_CLK_ENABLE();

  /*Configure GPIO pin Output Level */
  HAL_GPIO_WritePin(GPIOC, GPIO_PIN_0|GPIO_PIN_2|GPIO_PIN_4, GPIO_PIN_RESET);

  /*Configure GPIO pin Output Level */
  HAL_GPIO_WritePin(GPIOA, GPIO_PIN_0|GPIO_PIN_2|GPIO_PIN_4|GPIO_PIN_5
                          |GPIO_PIN_6, GPIO_PIN_RESET);

  /*Configure GPIO pin Output Level */
  HAL_GPIO_WritePin(GPIOD, GPIO_PIN_12|GPIO_PIN_13|GPIO_PIN_14|GPIO_PIN_15
                          |GPIO_PIN_4|GPIO_PIN_6, GPIO_PIN_RESET);

  /*Configure GPIO pin Output Level */
  HAL_GPIO_WritePin(GPIOB, GPIO_PIN_3|GPIO_PIN_5, GPIO_PIN_RESET);

  /*Configure GPIO pins : PC0 PC2 PC4 */
  GPIO_InitStruct.Pin = GPIO_PIN_0|GPIO_PIN_2|GPIO_PIN_4;
  GPIO_InitStruct.Mode = GPIO_MODE_OUTPUT_PP;
  GPIO_InitStruct.Pull = GPIO_NOPULL;
  GPIO_InitStruct.Speed = GPIO_SPEED_FREQ_LOW;
  HAL_GPIO_Init(GPIOC, &GPIO_InitStruct);

  /*Configure GPIO pins : PA0 PA2 PA4 PA5
                           PA6 */
  GPIO_InitStruct.Pin = GPIO_PIN_0|GPIO_PIN_2|GPIO_PIN_4|GPIO_PIN_5
                          |GPIO_PIN_6;
  GPIO_InitStruct.Mode = GPIO_MODE_OUTPUT_PP;
  GPIO_InitStruct.Pull = GPIO_NOPULL;
  GPIO_InitStruct.Speed = GPIO_SPEED_FREQ_LOW;
  HAL_GPIO_Init(GPIOA, &GPIO_InitStruct);

  /*Configure GPIO pins : PA1 PA3 PA7 */
  GPIO_InitStruct.Pin = GPIO_PIN_1|GPIO_PIN_3|GPIO_PIN_7;
  GPIO_InitStruct.Mode = GPIO_MODE_INPUT;
  GPIO_InitStruct.Pull = GPIO_NOPULL;
  HAL_GPIO_Init(GPIOA, &GPIO_InitStruct);

  /*Configure GPIO pin : PE15 */
  GPIO_InitStruct.Pin = GPIO_PIN_15;
  GPIO_InitStruct.Mode = GPIO_MODE_IT_FALLING;
  GPIO_InitStruct.Pull = GPIO_NOPULL;
  HAL_GPIO_Init(GPIOE, &GPIO_InitStruct);

  /*Configure GPIO pin : PB13 */
  GPIO_InitStruct.Pin = GPIO_PIN_13;
  GPIO_InitStruct.Mode = GPIO_MODE_IT_FALLING;
  GPIO_InitStruct.Pull = GPIO_NOPULL;
  HAL_GPIO_Init(GPIOB, &GPIO_InitStruct);

  /*Configure GPIO pin : PB15 */
  GPIO_InitStruct.Pin = GPIO_PIN_15;
  GPIO_InitStruct.Mode = GPIO_MODE_INPUT;
  GPIO_InitStruct.Pull = GPIO_NOPULL;
  HAL_GPIO_Init(GPIOB, &GPIO_InitStruct);

  /*Configure GPIO pins : PD12 PD13 PD14 PD15
                           PD4 PD6 */
  GPIO_InitStruct.Pin = GPIO_PIN_12|GPIO_PIN_13|GPIO_PIN_14|GPIO_PIN_15
                          |GPIO_PIN_4|GPIO_PIN_6;
  GPIO_InitStruct.Mode = GPIO_MODE_OUTPUT_PP;
  GPIO_InitStruct.Pull = GPIO_NOPULL;
  GPIO_InitStruct.Speed = GPIO_SPEED_FREQ_LOW;
  HAL_GPIO_Init(GPIOD, &GPIO_InitStruct);

  /*Configure GPIO pin : PA15 */
  GPIO_InitStruct.Pin = GPIO_PIN_15;
  GPIO_InitStruct.Mode = GPIO_MODE_INPUT;
  GPIO_InitStruct.Pull = GPIO_PULLUP;
  HAL_GPIO_Init(GPIOA, &GPIO_InitStruct);

  /*Configure GPIO pin : PC11 */
  GPIO_InitStruct.Pin = GPIO_PIN_11;
  GPIO_InitStruct.Mode = GPIO_MODE_INPUT;
  GPIO_InitStruct.Pull = GPIO_PULLUP;
  HAL_GPIO_Init(GPIOC, &GPIO_InitStruct);

  /*Configure GPIO pins : PD0 PD2 */
  GPIO_InitStruct.Pin = GPIO_PIN_0|GPIO_PIN_2;
  GPIO_InitStruct.Mode = GPIO_MODE_INPUT;
  GPIO_InitStruct.Pull = GPIO_PULLUP;
  HAL_GPIO_Init(GPIOD, &GPIO_InitStruct);

  /*Configure GPIO pins : PB3 PB5 */
  GPIO_InitStruct.Pin = GPIO_PIN_3|GPIO_PIN_5;
  GPIO_InitStruct.Mode = GPIO_MODE_OUTPUT_PP;
  GPIO_InitStruct.Pull = GPIO_NOPULL;
  GPIO_InitStruct.Speed = GPIO_SPEED_FREQ_LOW;
  HAL_GPIO_Init(GPIOB, &GPIO_InitStruct);

  /* EXTI interrupt init*/
  HAL_NVIC_SetPriority(EXTI15_10_IRQn, 5, 0);
  HAL_NVIC_EnableIRQ(EXTI15_10_IRQn);

}

/* USER CODE BEGIN 4 */
void HAL_GPIO_EXTI_Callback(uint16_t GPIO_Pin)
{
	/*Button 1*/
	if (GPIO_Pin == GPIO_PIN_15){
		if (touch.counter_1 > 0)
		{
			touch.state1 = !touch.state1;
			control_Relay(touch.state1);
		}
		touch.counter_1 ++;
		if (touch.counter_1 == 2){
			touch.counter_1 = 1;
		}
	}

	/*Button 2*/
	if (GPIO_Pin == GPIO_PIN_13){
		if (touch.counter_2 > 0)
		{
			automation_flash = !automation_flash;
			if (automation_flash == 1){
				LCD_16x2_Clear();
				LCD_16x2_SetCursor(1,1);
				LCD_16x2_Send_String("Auto mode is on", STR_NOSLIDE);
				LCD_16x2_SetCursor(2,1);
				LCD_16x2_Send_String("Limit temp:", STR_NOSLIDE);
				LCD_16x2_SetCursor(2, 15);
				LCD_16x2_Send_String(_limit_temp, STR_NOSLIDE);
				HAL_Delay(200);
			}
			else{
				LCD_16x2_Clear();
				LCD_16x2_SetCursor(1,1);
				LCD_16x2_Send_String("Auto mode is off", STR_NOSLIDE);
				HAL_Delay(200);
			}
		}
		touch.counter_2 ++;
		if (touch.counter_2 == 2){
			touch.counter_2 = 1;
		}
	}
}
/* USER CODE END 4 */

void Start_Task01(void const * argument)
{

  /* USER CODE BEGIN 5 */
  /* Infinite loop */
  for(;;)
  {
		stream();
		save_stream();
		stream_handle();
		osDelay(10);
  }
  /* USER CODE END 5 */
}

void Start_Task02(void const * argument)
{
  /* USER CODE BEGIN Start_Task02 */
	/* Task dung cho doc cam bien: gas, dht11, current, hien thi lcd*/
  /* Infinite loop */
  for(;;)
  {
		if(HAL_GetTick() - timeout_to_run_task2 >= 7500){
			readSensor();
		//osSemaphoreWait(BinSemHandle, osWaitForever);
			lcd_display();
		//osSemaphoreRelease(BinSemHandle);
			timeout_to_run_task2 = HAL_GetTick();
		}
    osDelay(10);
  }
  /* USER CODE END Start_Task02 */
}

void Start_Task03(void const * argument)
{
  /* USER CODE BEGIN Start_Task03 */
	//HAL_UART_Receive_IT(&huart3, &rxData, 1);
  /* Infinite loop */
  for(;;)
  {
		//osSemaphoreWait(BinSemHandle, osWaitForever);
		verify_password();
		//osSemaphoreRelease(BinSemHandle);
//		if(HAL_GetTick() - timeout_to_run_task3 >= 5000){
//			verify_password();
//			timeout_to_run_task3 = HAL_GetTick();
//		}
    osDelay(10);
  }
  /* USER CODE END Start_Task03 */
}

void Start_Task04(void const * argument)
{
  /* USER CODE BEGIN Start_Task04 */
  /* Infinite loop */
  for(;;)
  {
		if(HAL_GetTick() - timeout_to_run_task4 >= 10000){
			smart_control();
			timeout_to_run_task4 = HAL_GetTick();
		}
    osDelay(10);
  }
  /* USER CODE END Start_Task04 */
}

void HAL_TIM_PeriodElapsedCallback(TIM_HandleTypeDef *htim)
{
  if (htim->Instance == TIM14) {
    HAL_IncTick();
  }
}

void Error_Handler(void)
{
}

/************************ (C) COPYRIGHT STMicroelectronics *****END OF FILE****/
